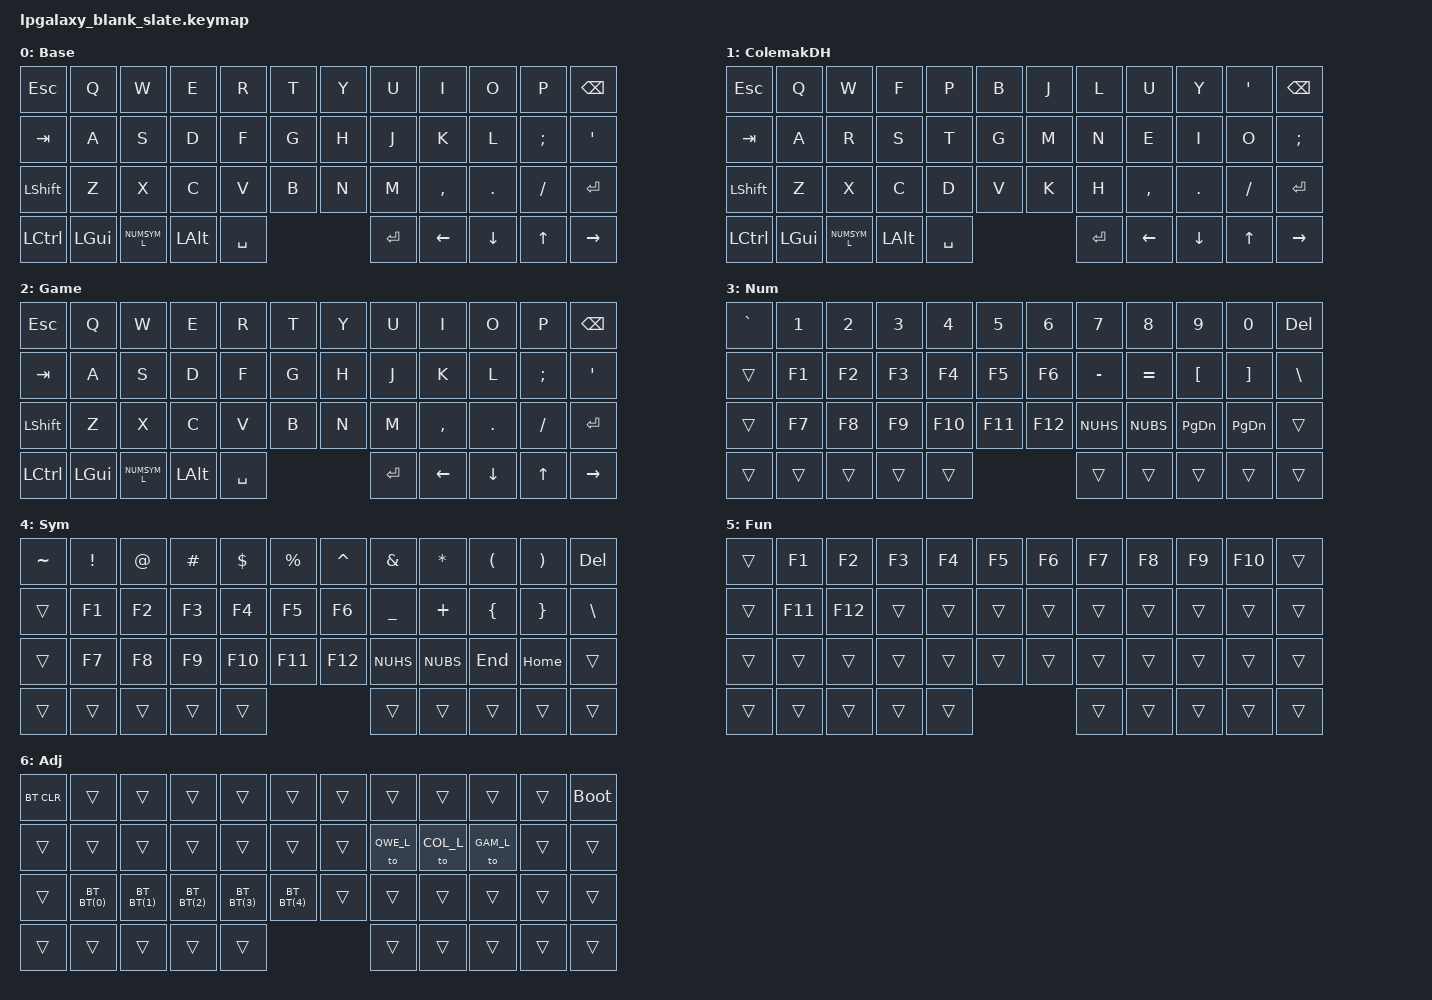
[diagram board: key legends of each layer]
 /*
 * Copyright (c) 2022 Pete Johanson
 *
 * SPDX-License-Identifier: MIT
 */

#include <behaviors.dtsi>
#include <dt-bindings/zmk/keys.h>
#include <dt-bindings/zmk/bt.h>
#include <dt-bindings/zmk/outputs.h>

#define QWERTY_BASE 1

// #define TBLE_ORTHO   1
// #define TBLE_MIT     1
#define TBLE_DUAL_2U 1

#define QWE_L 0
#define COL_L 1
#define GAM_L 2
#define NUM_L 3
#define SYM_L 4
#define FUN_L 5
#define ADJ_L 6


// Using layer taps on thumbs, having quick tap as well helps w/ repeating space/backspace
&lt { quick_tap_ms = <200>; };

#define BT(n) BT_SEL n

/ {
    chosen {
       zmk,matrix_transform =
#ifdef TBLE_DUAL_2U
                       &dual_2u_transform;
#elif defined(TBLE_MIT)
                       &mit_transform;
#else
                       &ortho_transform;
#endif
    };

    macros {
      ZMK_MACRO(thumbs_up,
		wait-ms = <1>;
		tap-ms = <5>;
                bindings = <&kp PLUS &kp COLON &kp PLUS &kp N1 &kp COLON &kp RET>;
		)
    };
    
    tap_dances {
    	shifty: shift_caps_word {
		compatible = "zmk,behavior-tap-dance";
		label = "TD_SHIFTY";
		#binding-cells = <0>;
		tapping-term-ms = <150>;
		bindings = <&kp LSHFT>, <&caps_word>;
	};
    	NUMSYM_L: num_sym_layer {
		compatible = "zmk,behavior-tap-dance";
		label = "TD_NUMSYM";
		#binding-cells = <0>;
		tapping-term-ms = <250>;
		bindings = <&mo NUM_L>, <&mo SYM_L>, <&mo ADJ_L>;
	};


    };

// Conditional layer only when we have less thumb keys
//#ifdef TBLE_DUAL_2U
//    cond_layers {
//        compatible = "zmk,conditional-layers";
//	tri {
//	    if-layers = <NUM_L ADJ_L>;
//	    then-layer = <SYM_L>;
//        };
//    };
//#else
//    cond_layers {
//        compatible = "zmk,conditional-layers";
//	tri_layer {
//	    if-layers = <NUM_L SYM_L>;
//	    then-layer = <ADJ_L>;
//        };
//    };
//#endif

    keymap {
        compatible = "zmk,keymap";

        base_layer {
            label = "Base";
            bindings = <
#ifdef QWERTY_BASE
 &kp ESC    &kp Q      &kp W      &kp E       &kp R          &kp T          &kp Y            &kp U          &kp I       &kp O      &kp P         &kp BKSP
 &kp TAB    &kp A      &kp S      &kp D       &kp F          &kp G          &kp H            &kp J          &kp K       &kp L      &kp SEMI      &kp QUOT
 &kp LSHFT  &kp Z      &kp X      &kp C       &kp V          &kp B          &kp N            &kp M          &kp COMMA   &kp DOT    &kp FSLH      &kp RET
#else
 &kp ESC    &kp Q      &kp W      &kp F       &kp P          &kp B          &kp J            &kp L          &kp U       &kp Y      &kp QUOT      &kp BKSP
 &kp TAB    &kp A      &kp R      &kp S       &kp T          &kp G          &kp M            &kp N          &kp E       &kp I      &kp O         &kp QUOT
 &kp LSHFT  &kp Z      &kp X      &kp C       &kp D          &kp V          &kp K            &kp H          &kp COMMA   &kp DOT    &kp SEMI      &kp RET
#endif
#ifdef TBLE_DUAL_2U
 &kp LCTRL  &kp LGUI   &NUMSYM_L   &kp LALT         &kp SPACE                        &kp RET              &kp LEFT    &kp DOWN     &kp UP      &kp RIGHT
#elif defined(TBLE_MIT)
 &kp LCTRL  &mo FUN_L   &kp LGUI  &kp LALT    &mo SYM_L          &kp SPACE                   &mo NUM_L      &kp LEFT    &kp DOWN     &kp UP      &kp RIGHT
#else
 &kp LCTRL  &mo FUN_L   &kp LGUI  &kp LALT    &mo SYM_L      &kp SPACE      &kp RET          &mo NUM_L      &kp LEFT    &kp DOWN     &kp UP      &kp RIGHT
#endif
            >;
        };

        colemak_layer {
            label = "ColemakDH";
            bindings = <
 &kp ESC    &kp Q      &kp W      &kp F       &kp P          &kp B          &kp J            &kp L          &kp U       &kp Y      &kp QUOT      &kp BKSP
 &kp TAB    &kp A      &kp R      &kp S       &kp T          &kp G          &kp M            &kp N          &kp E       &kp I      &kp O         &kp SEMI
 &kp LSHFT  &kp Z      &kp X      &kp C       &kp D          &kp V          &kp K            &kp H          &kp COMMA   &kp DOT    &kp FSLH      &kp RET
#ifdef TBLE_DUAL_2U
 &kp LCTRL  &kp LGUI   &NUMSYM_L   &kp LALT         &kp SPACE                        &kp RET              &kp LEFT    &kp DOWN     &kp UP      &kp RIGHT
#elif defined(TBLE_MIT)
 &kp LCTRL  &mo FUN_L   &kp LGUI  &kp LALT    &mo SYM_L          &kp SPACE                   &mo NUM_L      &kp LEFT    &kp DOWN     &kp UP      &kp RIGHT
#else
 &kp LCTRL  &mo FUN_L   &kp LGUI  &kp LALT    &mo SYM_L      &kp SPACE      &kp RET          &mo NUM_L      &kp LEFT    &kp DOWN     &kp UP      &kp RIGHT
#endif
            >;
        };

        game_layer {
            label = "Game";
            bindings = <
 &kp ESC    &kp Q      &kp W      &kp E       &kp R          &kp T          &kp Y            &kp U          &kp I       &kp O      &kp P         &kp BKSP
 &kp TAB    &kp A      &kp S      &kp D       &kp F          &kp G          &kp H            &kp J          &kp K       &kp L      &kp SEMI      &kp QUOT
 &kp LSHFT  &kp Z      &kp X      &kp C       &kp V          &kp B          &kp N            &kp M          &kp COMMA   &kp DOT    &kp FSLH      &kp RET
#ifdef TBLE_DUAL_2U
 &kp LCTRL  &kp LGUI   &NUMSYM_L   &kp LALT         &kp SPACE                        &kp RET              &kp LEFT    &kp DOWN     &kp UP      &kp RIGHT
#elif defined(TBLE_MIT)
 &kp LCTRL  &mo FUN_L   &kp LGUI  &kp LALT    &kp SPACE          &kp SPACE                   &NUMSYM_L      &kp LEFT    &kp DOWN     &kp UP      &kp RIGHT
#else
 &kp LCTRL  &mo FUN_L   &kp LGUI  &kp LALT    &mo SYM_L      &kp SPACE      &kp RET          &mo NUM_L      &kp LEFT    &kp DOWN     &kp UP      &kp RIGHT
#endif
            >;
        };


        num_layer {
            label = "Num";
            bindings = <
&kp GRAVE  &kp N1     &kp N2    &kp N3   &kp N4    &kp N5     &kp N6     &kp N7     &kp N8     &kp N9       &kp N0       &kp DEL
&trans     &kp F1     &kp F2    &kp F3   &kp F4    &kp F5     &kp F6     &kp MINUS  &kp EQUAL  &kp LBKT     &kp RBKT     &kp BSLH
&trans     &kp F7     &kp F8    &kp F9   &kp F10   &kp F11    &kp F12    &kp NUHS   &kp NUBS   &kp PG_DN    &kp PG_DN    &trans
#ifdef TBLE_DUAL_2U
&trans  &trans       &trans     &trans              &trans                 &trans            &trans         &trans &trans &trans
#elif defined(TBLE_MIT)
&trans     &trans     &trans    &trans   &mo ADJ_L           &none       &trans     &kp C_NEXT &kp C_VOL_DN &kp C_VOL_UP &kp C_PP
#else
&trans  &trans       &trans     &kp N0      &trans    &none         &none     &kp ESC        &kp DEL      &trans &trans &trans
#endif
            >;
        };

        sym_layer {
            label = "Sym";
            bindings = <
&kp TILDE  &kp EXCL   &kp AT   &kp HASH &kp DLLR  &kp PRCNT  &kp CARET  &kp AMPS   &kp STAR   &kp LPAR     &kp RPAR     &kp DEL
&trans     &kp F1     &kp F2   &kp F3   &kp F4    &kp F5     &kp F6     &kp UNDER  &kp PLUS   &kp LBRC     &kp RBRC     &kp BSLH
&trans     &kp F7     &kp F8   &kp F9   &kp F10   &kp F11    &kp F12    &kp NUHS   &kp NUBS   &kp END      &kp HOME     &trans
#ifdef TBLE_DUAL_2U
&trans &trans        &trans     &trans                &trans                    &trans       &trans         &trans &trans &trans
#elif defined(TBLE_MIT)
&trans     &trans     &trans   &trans   &trans             &none        &mo ADJ_L  &kp C_NEXT &kp C_VOL_DN &kp C_VOL_UP &kp C_PP
#else
&trans &trans        &trans     &kp RPAR        &trans          &trans       &trans    &trans  &trans         &trans &trans &trans
#endif
            >;
        };

        fun_layer {
            label = "Fun";
            bindings = <
&trans     &kp F1     &kp F2     &kp F3      &kp F4          &kp F5       &kp F6     &kp F7         &kp F8      &kp F9     &kp F10     &trans
&trans     &kp F11    &kp F12    &trans      &trans          &trans       &trans     &trans         &trans      &trans     &trans     &trans
&trans     &trans     &trans     &trans      &trans          &trans       &trans     &trans         &trans      &trans     &trans     &trans
#ifdef TBLE_DUAL_2U
&trans &trans        &trans     &trans              &trans                    &trans       &trans         &trans &trans &trans
#elif defined(TBLE_MIT)
&trans     &trans     &trans    &trans        &trans                &none            &mo ADJ_L      &kp C_NEXT  &kp C_VOL_DN &kp C_VOL_UP &kp C_PP
#else
&trans &trans        &trans     &trans        &trans          &trans       &trans    &trans  &trans         &trans &trans &trans
#endif
            >;
        };

        adj_layer {
            label = "Adj";
            bindings = <
&bt BT_CLR &trans     &trans     &trans      &trans          &trans       &trans     &trans         &trans      &trans     &trans     &bootloader
&trans     &trans     &trans     &trans      &trans          &trans       &trans     &to QWE_L      &to COL_L   &to GAM_L  &trans     &trans
&trans     &bt BT(0)  &bt BT(1)  &bt BT(2)   &bt BT(3)       &bt BT(4)    &trans     &trans         &trans      &trans     &trans     &trans
#ifdef TBLE_DUAL_2U
&trans  &trans        &trans     &trans              &trans                    &trans               &trans      &trans     &trans     &trans
#elif defined(TBLE_MIT)
&trans  &trans        &trans     &trans      &trans                &trans           &trans          &trans      &trans     &trans     &trans
#else
&trans  &trans        &trans     &trans      &trans          &trans       &trans     &trans          &trans      &trans     &trans     &trans
#endif
            >;
        };

    };
};

